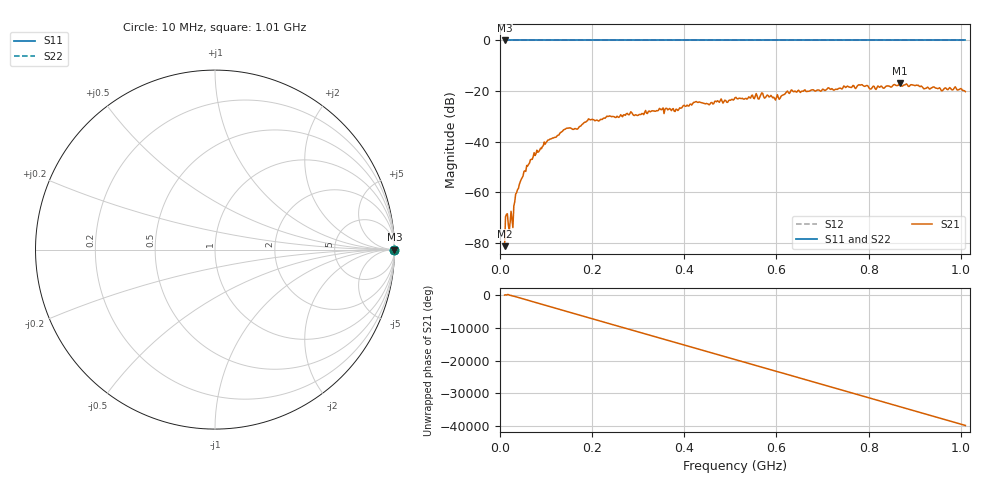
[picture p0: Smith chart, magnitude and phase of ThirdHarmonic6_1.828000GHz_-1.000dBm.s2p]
! 8/16/2025 10:08:47 PM
! C:\ANRITSUVNA\TEMP\TEMP.S2P
! CHANNEL.1
! TR.MEASUREMENT
! RAW.DATA
! RF.CORRECTION.OFF
! AVERAGING.OFF
! IF.BANDWIDTH: 5KHZ
! SWEEPTYPE:  FREQ.SWEEP(Linear)
! Reference Plane Port Info
! PORT:  PORT1  PORT2
! DISTANCE:  0  m  0  m
! TIME:  0  s  0  s
! PHASE.OFFSET:  0  deg.  0  deg.
! LOSS:  0  dB  0  dB
! REF.LOSS:  0  dB  0  dB
! REF.FREQ:  0  Hz  0  Hz
! Power Info
! POWER:  -20  dBm  -20  dBm
! EFF.POWER:  -20  dBm  -20  dBm
! SOURCE.ATTEN:  0  dB  0  dB
! TEST.ATTEN:  0  dB  0  dB
# GHZ S RI R 50.0
! FREQ.GHZ  S11RE  S11IM  S21RE  S21IM  S12RE  S12IM  S22RE  S22IM
!; PortSelection: Port_12
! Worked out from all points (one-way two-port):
!   501 points, 10 MHz to 1.01 GHz, reference 50 ohm
!   highest |S21| = -16.94 dB at 868 MHz (marker M1); lowest = -81.2 dB at 10 MHz (marker M2)
!   lowest |S11| = 0.0 dB at 10 MHz (marker M3)
!   |S11| at or under -10 dB: nowhere
!   |S22| runs from 0.0 to 0.0 dB; largest |S21 - S12| = 1.1
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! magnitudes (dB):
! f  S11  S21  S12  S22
! 10 MHz  0.0  -81.2  0.0  0.0
! 16 MHz  0.0  -68.4  0.0  0.0
! 24 MHz  0.0  -67.4  0.0  0.0
! 34 MHz  0.0  -60.6  0.0  0.0
! 42 MHz  0.0  -56.8  0.0  0.0
! 70 MHz  0.0  -46.9  0.0  0.0
! 106 MHz  0.0  -39.3  0.0  0.0
! 142 MHz  0.0  -35.0  0.0  0.0
! 178 MHz  0.0  -33.2  0.0  0.0
! 196 MHz  0.0  -31.3  0.0  0.0
! 344 MHz  0.0  -27.5  0.0  0.0
! 382 MHz  0.0  -27.1  0.0  0.0
! 424 MHz  0.0  -24.2  0.0  0.0
! 452 MHz  0.0  -25.1  0.0  0.0
! 510 MHz  0.0  -22.6  0.0  0.0
! 568 MHz  0.0  -20.7  0.0  0.0
! 596 MHz  0.0  -23.0  0.0  0.0
! 634 MHz  0.0  -19.7  0.0  0.0
! 678 MHz  0.0  -19.5  0.0  0.0
! 844 MHz  0.0  -18.0  0.0  0.0
! 868 MHz  0.0  -16.9  0.0  0.0
! 1.01 GHz  0.0  -20.2  0.0  0.0
